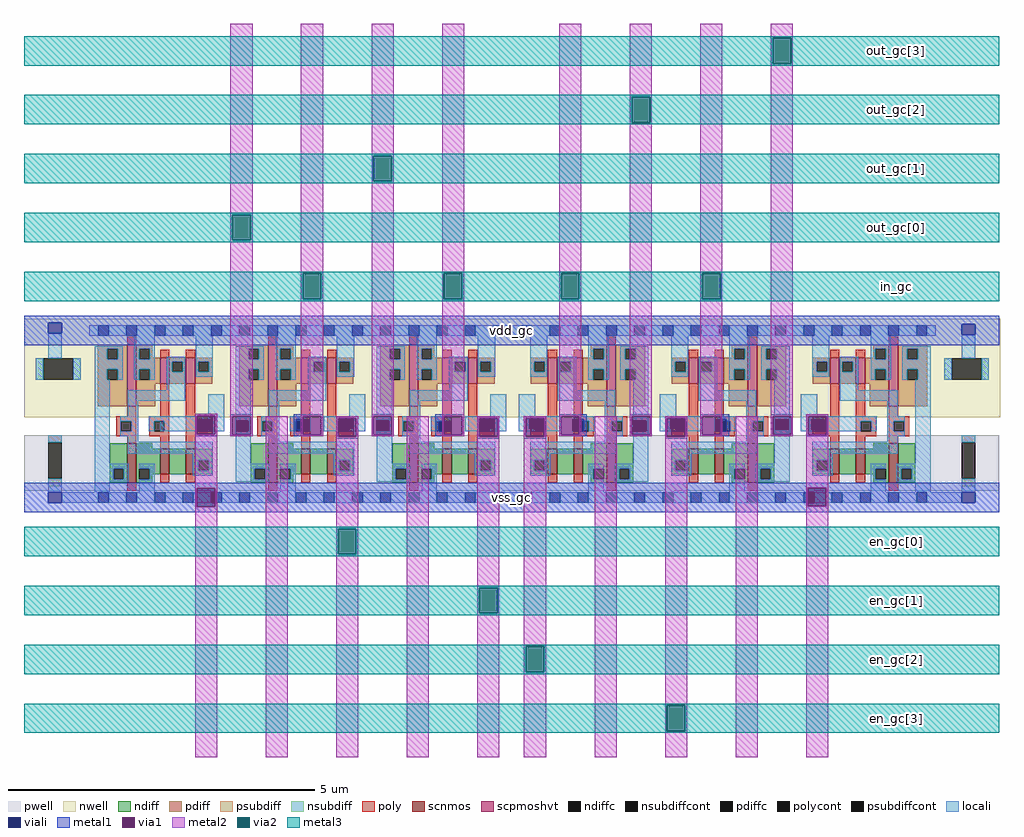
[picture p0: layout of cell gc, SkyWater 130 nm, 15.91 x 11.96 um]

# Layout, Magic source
magic
tech sky130A
magscale 1 2
<< nwell >>
rect -532 261 -319 582
rect 123 395 1978 582
rect 2435 261 2650 582
<< pwell >>
rect -532 21 2648 203
<< psubdiff >>
rect -453 179 -409 203
rect -453 37 -409 61
rect 2525 179 2569 203
rect 2525 37 2569 61
<< nsubdiff >>
rect -493 384 -469 454
rect -371 384 -347 454
rect 2468 384 2492 454
rect 2590 384 2614 454
<< psubdiffcont >>
rect -453 61 -409 179
rect 2525 61 2569 179
<< nsubdiffcont >>
rect -469 384 -371 454
rect 2492 384 2590 454
<< locali >>
rect -453 454 -409 535
rect 2525 454 2569 530
rect -493 384 -469 454
rect -371 384 -347 454
rect 2468 384 2492 454
rect 2590 384 2614 454
rect -88 215 19 265
rect 2136 215 2180 265
rect -453 179 -409 203
rect -453 17 -409 61
rect 2525 179 2569 203
rect -302 17 -252 57
rect 2374 17 2424 51
rect 2525 17 2569 61
rect -409 -17 -319 17
rect 2412 -17 2525 17
<< viali >>
rect -453 535 -409 569
rect 2525 530 2569 564
rect 37 221 79 255
rect 159 216 201 250
rect 356 221 398 255
rect 499 224 541 258
rect 617 217 659 251
rect 821 215 863 249
rect 959 224 1001 258
rect 1115 224 1157 258
rect 1256 215 1293 255
rect 1456 216 1498 250
rect 1575 224 1617 258
rect 1721 215 1758 255
rect 1918 221 1960 255
rect 2034 221 2076 255
rect -453 -17 -409 17
rect 2525 -17 2569 17
<< metal1 >>
rect -532 569 2648 592
rect -532 535 -453 569
rect -409 564 2648 569
rect -409 535 2525 564
rect -532 530 2525 535
rect 2569 530 2648 564
rect -532 496 2648 530
rect 26 266 98 272
rect 26 206 32 266
rect 92 206 98 266
rect 26 199 98 206
rect 141 265 213 271
rect 141 205 147 265
rect 207 205 213 265
rect 141 199 213 205
rect 348 265 443 271
rect 348 255 377 265
rect 348 221 356 255
rect 348 205 377 221
rect 437 205 443 265
rect 601 265 673 271
rect 348 199 443 205
rect 486 258 558 264
rect 486 198 492 258
rect 552 198 558 258
rect 601 205 607 265
rect 667 205 673 265
rect 601 199 673 205
rect 809 265 903 271
rect 809 249 837 265
rect 809 215 821 249
rect 809 205 837 215
rect 897 205 903 265
rect 1213 265 1303 271
rect 809 199 903 205
rect 946 258 1018 264
rect 486 192 558 198
rect 946 198 952 258
rect 1012 198 1018 258
rect 946 192 1018 198
rect 1098 258 1170 264
rect 1098 198 1104 258
rect 1164 198 1170 258
rect 1213 205 1219 265
rect 1279 255 1303 265
rect 1293 215 1303 255
rect 1279 205 1303 215
rect 1213 199 1303 205
rect 1443 265 1515 271
rect 1443 205 1449 265
rect 1509 205 1515 265
rect 1673 265 1767 271
rect 1443 199 1515 205
rect 1558 258 1630 264
rect 1098 192 1170 198
rect 1558 198 1564 258
rect 1624 198 1630 258
rect 1673 205 1679 265
rect 1739 255 1767 265
rect 1758 215 1767 255
rect 1739 205 1767 215
rect 1673 199 1767 205
rect 1903 265 1975 271
rect 1903 205 1909 265
rect 1969 205 1975 265
rect 1903 199 1975 205
rect 2018 265 2090 271
rect 2018 205 2025 265
rect 2085 205 2090 265
rect 2018 199 2090 205
rect 1558 192 1630 198
rect -532 31 2648 48
rect -532 30 2024 31
rect -532 17 32 30
rect -532 -17 -453 17
rect -409 -17 32 17
rect -532 -30 32 -17
rect 92 -29 2024 30
rect 2084 17 2648 31
rect 2084 -17 2525 17
rect 2569 -17 2648 17
rect 2084 -29 2648 -17
rect 92 -30 2648 -29
rect -532 -48 2648 -30
<< via1 >>
rect 32 255 92 266
rect 32 221 37 255
rect 37 221 79 255
rect 79 221 92 255
rect 32 206 92 221
rect 147 250 207 265
rect 147 216 159 250
rect 159 216 201 250
rect 201 216 207 250
rect 147 205 207 216
rect 377 255 437 265
rect 377 221 398 255
rect 398 221 437 255
rect 377 205 437 221
rect 492 224 499 258
rect 499 224 541 258
rect 541 224 552 258
rect 492 198 552 224
rect 607 251 667 265
rect 607 217 617 251
rect 617 217 659 251
rect 659 217 667 251
rect 607 205 667 217
rect 837 249 897 265
rect 837 215 863 249
rect 863 215 897 249
rect 837 205 897 215
rect 952 224 959 258
rect 959 224 1001 258
rect 1001 224 1012 258
rect 952 198 1012 224
rect 1104 224 1115 258
rect 1115 224 1157 258
rect 1157 224 1164 258
rect 1104 198 1164 224
rect 1219 255 1279 265
rect 1219 215 1256 255
rect 1256 215 1279 255
rect 1219 205 1279 215
rect 1449 250 1509 265
rect 1449 216 1456 250
rect 1456 216 1498 250
rect 1498 216 1509 250
rect 1449 205 1509 216
rect 1564 224 1575 258
rect 1575 224 1617 258
rect 1617 224 1624 258
rect 1564 198 1624 224
rect 1679 255 1739 265
rect 1679 215 1721 255
rect 1721 215 1739 255
rect 1679 205 1739 215
rect 1909 255 1969 265
rect 1909 221 1918 255
rect 1918 221 1960 255
rect 1960 221 1969 255
rect 1909 205 1969 221
rect 2025 255 2085 265
rect 2025 221 2034 255
rect 2034 221 2076 255
rect 2076 221 2085 255
rect 2025 205 2085 221
rect 32 -30 92 30
rect 2024 -29 2084 31
<< metal2 >>
rect 141 922 213 1544
rect 141 838 147 922
rect 207 838 213 922
rect 26 266 98 272
rect 26 206 32 266
rect 92 206 98 266
rect 26 30 98 206
rect 141 265 213 838
rect 141 205 147 265
rect 207 205 213 265
rect 371 730 443 1544
rect 371 646 377 730
rect 437 646 443 730
rect 371 265 443 646
rect 141 199 213 205
rect 26 -30 32 30
rect 92 -30 98 30
rect 26 -847 98 -30
rect 256 -847 328 264
rect 371 205 377 265
rect 437 205 443 265
rect 601 1114 673 1544
rect 601 1030 607 1114
rect 667 1030 673 1114
rect 601 265 673 1030
rect 371 199 443 205
rect 486 258 558 264
rect 486 198 492 258
rect 552 198 558 258
rect 601 205 607 265
rect 667 205 673 265
rect 831 730 903 1544
rect 831 646 837 730
rect 897 646 903 730
rect 831 265 903 646
rect 601 199 673 205
rect 486 -102 558 198
rect 486 -186 492 -102
rect 552 -186 558 -102
rect 486 -847 558 -186
rect 716 -847 788 264
rect 831 205 837 265
rect 897 205 903 265
rect 1213 730 1285 1544
rect 1213 646 1219 730
rect 1279 646 1285 730
rect 1213 265 1285 646
rect 831 199 903 205
rect 946 258 1018 264
rect 946 198 952 258
rect 1012 198 1018 258
rect 946 -294 1018 198
rect 946 -378 952 -294
rect 1012 -378 1018 -294
rect 946 -847 1018 -378
rect 1098 258 1170 264
rect 1098 198 1104 258
rect 1164 198 1170 258
rect 1213 205 1219 265
rect 1279 205 1285 265
rect 1443 1306 1515 1544
rect 1443 1222 1449 1306
rect 1509 1222 1515 1306
rect 1443 265 1515 1222
rect 1213 199 1285 205
rect 1098 -486 1170 198
rect 1098 -570 1104 -486
rect 1164 -570 1170 -486
rect 1098 -847 1170 -570
rect 1328 -847 1400 264
rect 1443 205 1449 265
rect 1509 205 1515 265
rect 1673 730 1745 1544
rect 1673 646 1679 730
rect 1739 646 1745 730
rect 1673 265 1745 646
rect 1443 199 1515 205
rect 1558 258 1630 264
rect 1558 198 1564 258
rect 1624 198 1630 258
rect 1673 205 1679 265
rect 1739 205 1745 265
rect 1903 1498 1975 1544
rect 1903 1414 1909 1498
rect 1969 1414 1975 1498
rect 1903 265 1975 1414
rect 1673 199 1745 205
rect 1558 -678 1630 198
rect 1558 -762 1564 -678
rect 1624 -762 1630 -678
rect 1558 -847 1630 -762
rect 1788 -847 1860 264
rect 1903 205 1909 265
rect 1969 205 1975 265
rect 1903 199 1975 205
rect 2018 265 2090 271
rect 2018 205 2025 265
rect 2085 205 2090 265
rect 2018 31 2090 205
rect 2018 -29 2024 31
rect 2084 -29 2090 31
rect 2018 -847 2090 -29
<< via2 >>
rect 147 838 207 922
rect 377 646 437 730
rect 607 1030 667 1114
rect 837 646 897 730
rect 492 -186 552 -102
rect 1219 646 1279 730
rect 952 -378 1012 -294
rect 1449 1222 1509 1306
rect 1104 -570 1164 -486
rect 1679 646 1739 730
rect 1909 1414 1969 1498
rect 1564 -762 1624 -678
<< metal3 >>
rect -532 1498 2648 1504
rect -532 1414 1909 1498
rect 1969 1414 2648 1498
rect -532 1408 2648 1414
rect -532 1306 2648 1312
rect -532 1222 1449 1306
rect 1509 1222 2648 1306
rect -532 1216 2648 1222
rect -532 1114 2648 1120
rect -532 1030 607 1114
rect 667 1030 2648 1114
rect -532 1024 2648 1030
rect -532 922 2648 928
rect -532 838 147 922
rect 207 838 2648 922
rect -532 832 2648 838
rect -532 730 2648 736
rect -532 646 377 730
rect 437 646 837 730
rect 897 646 1219 730
rect 1279 646 1679 730
rect 1739 646 2648 730
rect -532 640 2648 646
rect -532 -102 2648 -96
rect -532 -186 492 -102
rect 552 -186 2648 -102
rect -532 -192 2648 -186
rect -532 -294 2648 -288
rect -532 -378 952 -294
rect 1012 -378 2648 -294
rect -532 -384 2648 -378
rect -532 -486 2648 -480
rect -532 -570 1104 -486
rect 1164 -570 2648 -486
rect -532 -576 2648 -570
rect -532 -678 2648 -672
rect -532 -762 1564 -678
rect 1624 -762 2648 -678
rect -532 -768 2648 -762
use sky130_fd_sc_hd__and2_1  sky130_fd_sc_hd__and2_1_0 $PDKPATH/libs.ref/sky130_fd_sc_hd/mag
transform -1 0 141 0 1 0
box -38 -48 498 592
use sky130_fd_sc_hd__and2_1  sky130_fd_sc_hd__and2_1_1
transform -1 0 601 0 1 0
box -38 -48 498 592
use sky130_fd_sc_hd__and2_1  sky130_fd_sc_hd__and2_1_2
transform 1 0 1521 0 1 0
box -38 -48 498 592
use sky130_fd_sc_hd__and2_1  sky130_fd_sc_hd__and2_1_3
transform -1 0 1061 0 1 0
box -38 -48 498 592
use sky130_fd_sc_hd__and2_1  sky130_fd_sc_hd__and2_1_4
transform 1 0 1061 0 1 0
box -38 -48 498 592
use sky130_fd_sc_hd__and2_1  sky130_fd_sc_hd__and2_1_5
transform 1 0 1981 0 1 0
box -38 -48 498 592
<< labels >>
flabel metal3 1975 640 2648 736 0 FreeSans 320 0 0 0 in_gc
port 2 nsew
flabel metal3 1975 832 2648 928 0 FreeSans 320 0 0 0 out_gc[0]
port 3 nsew
flabel metal3 1975 1024 2648 1120 0 FreeSans 320 0 0 0 out_gc[1]
port 4 nsew
flabel metal3 1975 1408 2648 1504 0 FreeSans 320 0 0 0 out_gc[3]
port 6 nsew
flabel metal3 1975 -192 2648 -96 0 FreeSans 320 0 0 0 en_gc[0]
port 7 nsew
flabel metal3 1975 -384 2648 -288 0 FreeSans 320 0 0 0 en_gc[1]
port 8 nsew
flabel metal3 1975 -576 2648 -480 0 FreeSans 320 0 0 0 en_gc[2]
port 9 nsew
flabel metal3 1975 -768 2648 -672 0 FreeSans 320 0 0 0 en_gc[3]
port 10 nsew
flabel metal3 1975 1216 2648 1312 0 FreeSans 320 0 0 0 out_gc[2]
port 5 nsew
flabel metal1 -532 496 2648 592 0 FreeSans 320 0 0 0 vdd_gc
port 11 nsew
flabel metal1 -532 -48 2648 48 0 FreeSans 320 0 0 0 vss_gc
port 0 nsew
<< end >>

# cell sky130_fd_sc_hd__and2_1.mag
magic
tech sky130A
magscale 1 2
<< nwell >>
rect -38 261 498 582
<< pwell >>
rect 229 185 419 203
rect 33 21 419 185
rect 33 17 63 21
rect 29 -17 63 17
<< scnmos >>
rect 115 75 145 159
rect 199 75 229 159
rect 307 47 337 177
<< scpmoshvt >>
rect 115 371 145 455
rect 199 371 229 455
rect 307 297 337 497
<< ndiff >>
rect 255 159 307 177
rect 59 121 115 159
rect 59 87 71 121
rect 105 87 115 121
rect 59 75 115 87
rect 145 75 199 159
rect 229 93 307 159
rect 229 75 263 93
rect 255 59 263 75
rect 297 59 307 93
rect 255 47 307 59
rect 337 93 393 177
rect 337 59 347 93
rect 381 59 393 93
rect 337 47 393 59
<< pdiff >>
rect 255 485 307 497
rect 255 455 263 485
rect 59 443 115 455
rect 59 409 71 443
rect 105 409 115 443
rect 59 371 115 409
rect 145 443 199 455
rect 145 409 155 443
rect 189 409 199 443
rect 145 371 199 409
rect 229 451 263 455
rect 297 451 307 485
rect 229 417 307 451
rect 229 383 263 417
rect 297 383 307 417
rect 229 371 307 383
rect 245 297 307 371
rect 337 485 432 497
rect 337 451 367 485
rect 401 451 432 485
rect 337 417 432 451
rect 337 383 367 417
rect 401 383 432 417
rect 337 297 432 383
<< ndiffc >>
rect 71 87 105 121
rect 263 59 297 93
rect 347 59 381 93
<< pdiffc >>
rect 71 409 105 443
rect 155 409 189 443
rect 263 451 297 485
rect 263 383 297 417
rect 367 451 401 485
rect 367 383 401 417
<< poly >>
rect 307 497 337 523
rect 115 455 145 481
rect 199 455 229 481
rect 115 265 145 371
rect 58 249 145 265
rect 58 215 74 249
rect 108 215 145 249
rect 58 199 145 215
rect 115 159 145 199
rect 199 265 229 371
rect 307 265 337 297
rect 199 249 265 265
rect 199 215 215 249
rect 249 215 265 249
rect 199 199 265 215
rect 307 249 373 265
rect 307 215 323 249
rect 357 215 373 249
rect 307 199 373 215
rect 199 159 229 199
rect 307 177 337 199
rect 115 49 145 75
rect 199 49 229 75
rect 307 21 337 47
<< polycont >>
rect 74 215 108 249
rect 215 215 249 249
rect 323 215 357 249
<< locali >>
rect 0 527 29 561
rect 63 527 121 561
rect 155 527 213 561
rect 247 527 305 561
rect 339 527 397 561
rect 431 527 460 561
rect 57 443 113 527
rect 247 485 313 527
rect 57 409 71 443
rect 105 409 113 443
rect 57 393 113 409
rect 147 443 207 459
rect 147 409 155 443
rect 189 409 207 443
rect 147 349 207 409
rect 247 451 263 485
rect 297 451 313 485
rect 247 417 313 451
rect 247 383 263 417
rect 297 383 313 417
rect 351 485 443 493
rect 351 451 367 485
rect 401 451 443 485
rect 351 417 443 451
rect 351 383 367 417
rect 401 383 443 417
rect 20 265 73 337
rect 147 315 335 349
rect 301 265 335 315
rect 20 249 155 265
rect 20 215 74 249
rect 108 215 155 249
rect 199 249 267 265
rect 199 215 215 249
rect 249 215 267 249
rect 301 249 359 265
rect 301 215 323 249
rect 357 215 359 249
rect 301 199 359 215
rect 301 181 335 199
rect 57 143 335 181
rect 57 121 123 143
rect 57 87 71 121
rect 105 87 123 121
rect 393 109 443 383
rect 57 71 123 87
rect 247 93 297 109
rect 247 59 263 93
rect 247 17 297 59
rect 331 93 443 109
rect 331 59 347 93
rect 381 59 443 93
rect 331 51 443 59
rect 0 -17 29 17
rect 63 -17 121 17
rect 155 -17 213 17
rect 247 -17 305 17
rect 339 -17 397 17
rect 431 -17 460 17
<< viali >>
rect 29 527 63 561
rect 121 527 155 561
rect 213 527 247 561
rect 305 527 339 561
rect 397 527 431 561
rect 29 -17 63 17
rect 121 -17 155 17
rect 213 -17 247 17
rect 305 -17 339 17
rect 397 -17 431 17
<< metal1 >>
rect 0 561 460 592
rect 0 527 29 561
rect 63 527 121 561
rect 155 527 213 561
rect 247 527 305 561
rect 339 527 397 561
rect 431 527 460 561
rect 0 496 460 527
rect 0 17 460 48
rect 0 -17 29 17
rect 63 -17 121 17
rect 155 -17 213 17
rect 247 -17 305 17
rect 339 -17 397 17
rect 431 -17 460 17
rect 0 -48 460 -17
<< labels >>
flabel metal1 s 29 527 63 561 0 FreeSans 200 0 0 0 VPWR
port 1 nsew
flabel metal1 s 29 -17 63 17 0 FreeSans 200 0 0 0 VGND
port 2 nsew
flabel locali s 397 153 431 187 0 FreeSans 250 0 0 0 X
port 3 nsew
flabel locali s 397 85 431 119 0 FreeSans 250 0 0 0 X
port 3 nsew
flabel locali s 397 221 431 255 0 FreeSans 250 0 0 0 X
port 3 nsew
flabel locali s 397 289 431 323 0 FreeSans 250 0 0 0 X
port 3 nsew
flabel locali s 397 357 431 391 0 FreeSans 250 0 0 0 X
port 3 nsew
flabel locali s 397 425 431 459 0 FreeSans 250 0 0 0 X
port 3 nsew
flabel locali s 213 221 247 255 0 FreeSans 250 0 0 0 B
port 5 nsew
flabel locali s 121 221 155 255 0 FreeSans 250 0 0 0 A
port 4 nsew
flabel locali s 29 221 63 255 0 FreeSans 250 0 0 0 A
port 4 nsew
rlabel comment s 0 0 0 0 4 and2_1
flabel nwell s 29 527 63 561 0 FreeSans 200 0 0 0 VPB
port 7 nsew
flabel pwell s 29 -17 63 17 0 FreeSans 200 0 0 0 VNB
port 8 nsew
<< properties >>
string FIXED_BBOX 0 0 460 544
string GDS_END 145472
string GDS_FILE adc_top.gds.gz
string GDS_START 140618
string path 0.000 2.720 2.300 2.720 
<< end >>
